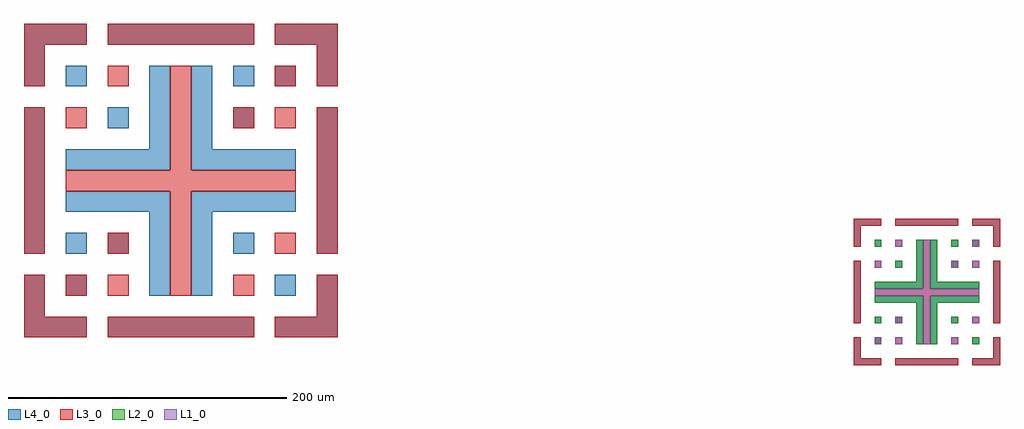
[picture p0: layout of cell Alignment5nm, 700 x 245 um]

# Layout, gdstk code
import gdstk
lib = gdstk.Library(unit=1e-6, precision=5e-06)
def R(c, l, rs):  # rectangles x0, y0, x1, y1
    for r in rs: c.add(gdstk.rectangle(r[:2], r[2:], *l))
def P(c, l, *ps):  # polygons
    for p in ps: c.add(gdstk.Polygon(p, *l))
L1_0 = (1, 0)
L2_0 = (2, 0)
L3_0 = (3, 0)
L4_0 = (4, 0)

alignment5nm = lib.new_cell('Alignment5nm')
R(alignment5nm, L1_0, [(480,-55,485,-50), (495,-55,500,-50), (535,-55,540,-50), (495,-40,500,-35), (550,-40,555,-35), (480,0,485,5), (535,0,540,5), (550,0,555,5), (495,15,500,20), (550,15,555,20)])
P(alignment5nm, L1_0, [(515,-55),(515,-20),(480,-20),(480,-15),(515,-15),(515,20),(520,20),(520,-15),(555,-15),(555,-20),(520,-20),(520,-55)])
R(alignment5nm, L2_0, [(480,-55,485,-50), (550,-55,555,-50), (480,-40,485,-35), (495,-40,500,-35), (535,-40,540,-35), (495,0,500,5), (535,0,540,5), (480,15,485,20), (535,15,540,20), (550,15,555,20)])
P(alignment5nm, L2_0, [(480,-15),(480,-10),(510,-10),(510,20),(515,20),(515,-15)],
  [(520,-15),(520,20),(525,20),(525,-10),(555,-10),(555,-15)],
  [(520,-55),(520,-20),(555,-20),(555,-25),(525,-25),(525,-55)],
  [(510,-55),(510,-25),(480,-25),(480,-20),(515,-20),(515,-55)])
R(alignment5nm, L3_0, [(465,-70,485,-65), (495,-70,540,-65), (550,-70,570,-65), (465,-65,470,-50), (565,-65,570,-50), (480,-55,485,-50), (495,-55,500,-50), (535,-55,540,-50), (-70,-50,35,-35), (465,-40,470,5), (495,-40,500,-35), (550,-40,555,-35), (565,-40,570,5), (-100,-20,-85,-5), (-70,-20,-55,-5), (20,-20,35,-5), (480,0,485,5), (535,0,540,5), (550,0,555,5), (-130,10,-115,115), (-70,10,-55,25), (50,10,65,25), (80,10,95,115), (465,15,470,30), (495,15,500,20), (550,15,555,20), (565,15,570,35), (465,30,485,35), (495,30,540,35), (550,30,565,35), (-100,100,-85,115), (20,100,35,115), (50,100,65,115), (-70,130,-55,145), (50,130,65,145), (-70,160,35,175)])
P(alignment5nm, L3_0, [(-25,-20),(-25,55),(-100,55),(-100,70),(-25,70),(-25,145),(-10,145),(-10,70),(65,70),(65,55),(-10,55),(-10,-20)],
  [(-130,-50),(-130,-5),(-115,-5),(-115,-35),(-85,-35),(-85,-50)],
  [(-130,130),(-130,175),(-85,175),(-85,160),(-115,160),(-115,130)],
  [(80,130),(80,160),(50,160),(50,175),(95,175),(95,130)],
  [(50,-50),(50,-35),(80,-35),(80,-5),(95,-5),(95,-50)],
  [(515,-55),(515,-20),(480,-20),(480,-15),(515,-15),(515,20),(520,20),(520,-15),(555,-15),(555,-20),(520,-20),(520,-55)])
R(alignment5nm, L4_0, [(465,-70,485,-65), (495,-70,540,-65), (550,-70,570,-65), (465,-65,470,-50), (565,-65,570,-50), (480,-55,485,-50), (550,-55,555,-50), (-70,-50,35,-35), (465,-40,470,5), (480,-40,485,-35), (495,-40,500,-35), (535,-40,540,-35), (565,-40,570,5), (-100,-20,-85,-5), (50,-20,65,-5), (495,0,500,5), (535,0,540,5), (-130,10,-115,115), (-100,10,-85,25), (-70,10,-55,25), (20,10,35,25), (80,10,95,115), (465,15,470,30), (480,15,485,20), (535,15,540,20), (550,15,555,20), (565,15,570,35), (465,30,485,35), (495,30,540,35), (550,30,565,35), (-70,100,-55,115), (20,100,35,115), (-100,130,-85,145), (20,130,35,145), (50,130,65,145), (-70,160,35,175)])
P(alignment5nm, L4_0, [(-10,70),(-10,145),(5,145),(5,85),(65,85),(65,70)],
  [(-100,70),(-100,85),(-40,85),(-40,145),(-25,145),(-25,70)],
  [(-10,-20),(-10,55),(65,55),(65,40),(5,40),(5,-20)],
  [(-40,-20),(-40,40),(-100,40),(-100,55),(-25,55),(-25,-20)],
  [(-130,-50),(-130,-5),(-115,-5),(-115,-35),(-85,-35),(-85,-50)],
  [(-130,130),(-130,175),(-85,175),(-85,160),(-115,160),(-115,130)],
  [(80,130),(80,160),(50,160),(50,175),(95,175),(95,130)],
  [(50,-50),(50,-35),(80,-35),(80,-5),(95,-5),(95,-50)],
  [(510,-55),(510,-25),(480,-25),(480,-20),(515,-20),(515,-55)],
  [(480,-15),(480,-10),(510,-10),(510,20),(515,20),(515,-15)],
  [(520,-15),(520,20),(525,20),(525,-10),(555,-10),(555,-15)],
  [(520,-55),(520,-20),(555,-20),(555,-25),(525,-25),(525,-55)])

lib.write_gds('Alignment5nm.gds')
